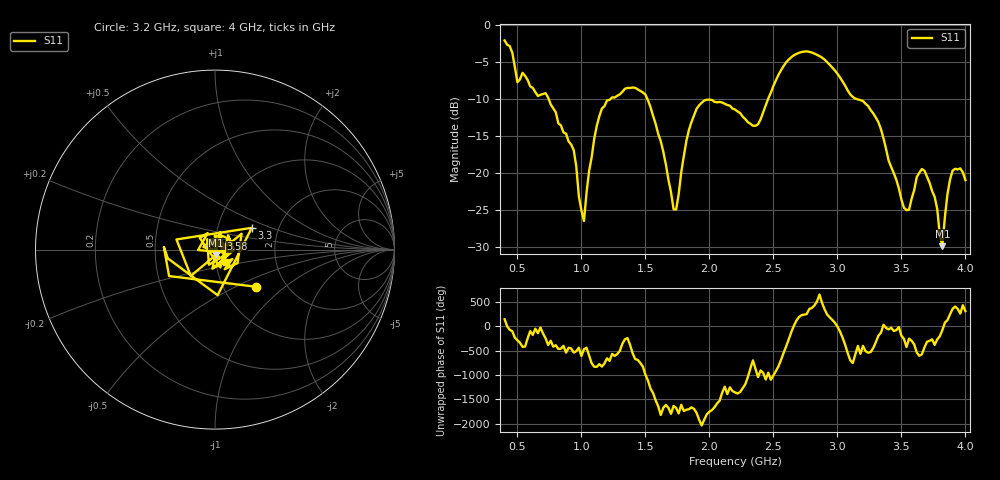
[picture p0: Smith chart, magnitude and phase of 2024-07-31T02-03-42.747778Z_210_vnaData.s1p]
!Created with skrf (http://scikit-rf.org).
# Hz S RI R 50.0
!freq ReS11 ImS11
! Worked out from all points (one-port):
!   181 points, 400 MHz to 4 GHz, reference 50 ohm
!   lowest |S11| = -29.9 dB at 3.82 GHz (marker M1), VSWR 1.07, Z = 50.5 - j3.19 ohm
!   |S11| at or under -10 dB: 745.4 MHz to 1.224 GHz (478.5 MHz wide, 48.6 % of centre); 1.517 GHz to 2.457 GHz (940.5 MHz wide, 47.3 % of centre); 3.159 GHz to end of sweep
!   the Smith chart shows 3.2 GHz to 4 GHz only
!   S11 on the Smith chart (normalised r, x): 3.2 GHz: 1.42, -0.65; 3.3 GHz: 1.46, +0.38; 3.58 GHz: 1.06, +0.13; 4 GHz: 1.12, -0.15
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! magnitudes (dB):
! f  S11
! 400 MHz  -2.0
! 500 MHz  -7.7
! 720 MHz  -9.2
! 860 MHz  -14.5
! 940 MHz  -16.9
! 1.02 GHz  -26.5
! 1.14 GHz  -12.3
! 1.3 GHz  -9.3
! 1.5 GHz  -9.3
! 1.62 GHz  -15.7
! 1.72 GHz  -24.9
! 1.76 GHz  -22.8
! 1.82 GHz  -15.6
! 1.9 GHz  -11.3
! 2.2 GHz  -11.4
! 2.38 GHz  -13.4
! 2.66 GHz  -4.0
! 2.88 GHz  -4.4
! 3.1 GHz  -9.3
! 3.2 GHz  -10.2
! 3.3 GHz  -12.5
! 3.56 GHz  -24.9
! 3.58 GHz  -23.4
! 3.68 GHz  -19.7
! 3.76 GHz  -23.2
! 3.82 GHz  -29.9
! 3.9 GHz  -19.6
! 4 GHz  -20.9
